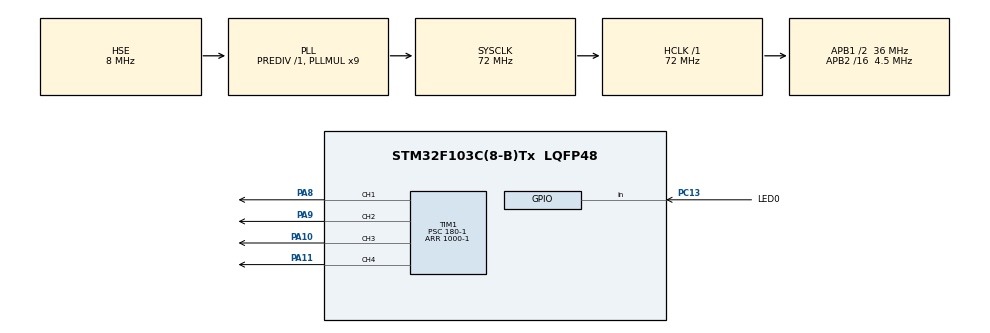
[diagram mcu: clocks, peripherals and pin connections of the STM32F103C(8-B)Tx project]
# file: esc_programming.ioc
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Mcu.Family=STM32F1
Mcu.Name=STM32F103C(8-B)Tx
Mcu.Package=LQFP48
NVIC.PriorityGroup=NVIC_PRIORITYGROUP_4
PA10.Signal=S_TIM1_CH3
PA11.Signal=S_TIM1_CH4
PA8.Signal=S_TIM1_CH1
PA9.Signal=S_TIM1_CH2
PC13-TAMPER-RTC.GPIO_Label=LED0
PC13-TAMPER-RTC.Signal=GPIO_Input
PD0-OSC_IN.Mode=HSE-External-Oscillator
PD0-OSC_IN.Signal=RCC_OSC_IN
PD1-OSC_OUT.Mode=HSE-External-Oscillator
PD1-OSC_OUT.Signal=RCC_OSC_OUT
ProjectManager.HeapSize=0x200
ProjectManager.StackSize=0x400
ProjectManager.TargetToolchain=STM32CubeIDE
RCC.AHBFreq_Value=72000000
RCC.APB1CLKDivider=RCC_HCLK_DIV2
RCC.APB1Freq_Value=36000000
RCC.APB1TimFreq_Value=72000000
RCC.APB2CLKDivider=RCC_HCLK_DIV16
RCC.APB2Freq_Value=4500000
RCC.APB2TimFreq_Value=9000000
RCC.HCLKFreq_Value=72000000
RCC.PLLMUL=RCC_PLL_MUL9
RCC.PLLSourceVirtual=RCC_PLLSOURCE_HSE
RCC.SYSCLKFreq_VALUE=72000000
RCC.SYSCLKSource=RCC_SYSCLKSOURCE_PLLCLK
RCC.USBFreq_Value=72000000
SH.S_TIM1_CH1.0=TIM1_CH1,PWM Generation1 CH1
SH.S_TIM1_CH2.0=TIM1_CH2,PWM Generation2 CH2
SH.S_TIM1_CH3.0=TIM1_CH3,PWM Generation3 CH3
SH.S_TIM1_CH4.0=TIM1_CH4,PWM Generation4 CH4
TIM1.Channel-PWM\ Generation1\ CH1=TIM_CHANNEL_1
TIM1.Channel-PWM\ Generation2\ CH2=TIM_CHANNEL_2
TIM1.Channel-PWM\ Generation3\ CH3=TIM_CHANNEL_3
TIM1.Channel-PWM\ Generation4\ CH4=TIM_CHANNEL_4
TIM1.Period=1000-1
TIM1.Prescaler=180-1
VP_SYS_VS_ND.Mode=No_Debug
board=custom

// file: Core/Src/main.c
/* USER CODE BEGIN Header */
/**
  ******************************************************************************
  * @file           : main.c
  * @brief          : Main program body
  ******************************************************************************
  * @attention
  *
  * Copyright (c) 2024 STMicroelectronics.
  * All rights reserved.
  *
  * This software is licensed under terms that can be found in the LICENSE file
  * in the root directory of this software component.
  * If no LICENSE file comes with this software, it is provided AS-IS.
  *
  ******************************************************************************
  */
/* USER CODE END Header */
#include "main.h"

/* USER CODE BEGIN PTD */
#define calibrate 1
#define setup 1
/* USER CODE END PTD */

TIM_HandleTypeDef htim1;

void SystemClock_Config(void);
static void MX_GPIO_Init(void);
static void MX_TIM1_Init(void);

/* USER CODE BEGIN 0 */

uint16_t ADC_Data=0;
int ADC_Converted=0;

/*long map(long x, long in_min, long in_max, long out_min, long out_max)
{
  return (x - in_min) * (out_max - out_min + 1) / (in_max - in_min + 1) + out_min;
}

void HAL_ADC_ConvCpltCallback(ADC_HandleTypeDef* hadc)
{
	ADC_Converted = map(ADC_Data, 0, 4095, 50, 120); //120 maior velocidade

	TIM1->CCR1 = ADC_Converted;
}*/

/* USER CODE END 0 */

int main(void)
{

  /* MCU Configuration--------------------------------------------------------*/

  /* Reset of all peripherals, Initializes the Flash interface and the Systick. */
  HAL_Init();

  /* Configure the system clock */
  SystemClock_Config();

  /* Initialize all configured peripherals */
  MX_GPIO_Init();
  MX_TIM1_Init();
  /* USER CODE BEGIN 2 */

  HAL_TIM_PWM_Start(&htim1, TIM_CHANNEL_1);
  HAL_TIM_PWM_Start(&htim1, TIM_CHANNEL_2);
  HAL_TIM_PWM_Start(&htim1, TIM_CHANNEL_3);
  HAL_TIM_PWM_Start(&htim1, TIM_CHANNEL_4);

  HAL_GPIO_TogglePin(LED0_GPIO_Port, LED0_Pin);

  //Standard PWM
  #if calibrate
      TIM1->CCR1 = 100;  // Set the maximum pulse (2ms)
      HAL_Delay(2000);  // wait for 2 beeps
      TIM1->CCR1 = 50;   // Set the minimum Pulse (1ms)
      HAL_Delay(1000);  // wait for n beeps and long beep - n = number of battery cells
      TIM1->CCR1 = 0;    // reset to 0, so it can be controlled.
      TIM1->CCR2 = 100;  // Set the maximum pulse (2ms)
      HAL_Delay(2000);  // wait for 2 beeps
      TIM1->CCR2 = 50;   // Set the minimum Pulse (1ms)
      HAL_Delay(1000);  // wait for n beeps and long beep - n = number of battery cells
      TIM1->CCR2 = 0;    // reset to 0, so it can be controlled.
      TIM1->CCR3 = 100;  // Set the maximum pulse (2ms)
      HAL_Delay(2000);  // wait for 2 beeps
      TIM1->CCR3 = 50;   // Set the minimum Pulse (1ms)
      HAL_Delay(1000);  // wait for n beeps and long beep - n = number of battery cells
      TIM1->CCR3 = 0;    // reset to 0, so it can be controlled.
      TIM1->CCR4 = 100;  // Set the maximum pulse (2ms)
      HAL_Delay(2000);  // wait for 2 beeps
      TIM1->CCR4 = 50;   // Set the minimum Pulse (1ms)
      HAL_Delay(1000);  // wait for n beeps and long beep - n = number of battery cells
      TIM1->CCR4 = 0;    // reset to 0, so it can be controlled.
  #endif

  /*#if setup
      TIM1->CCR1 = 50;
      HAL_Delay (3000);  // 123 beeps means battery is okay then n beeps
      TIM1->CCR1 = 0;
  #endif*/

      TIM1->CCR1 = 75;
      TIM1->CCR2 = 75;
      TIM1->CCR3 = 75;
      TIM1->CCR4 = 75;

  /* USER CODE END 2 */

  /* Infinite loop */
  /* USER CODE BEGIN WHILE */
  while (1)
  {

	  HAL_GPIO_TogglePin(LED0_GPIO_Port, LED0_Pin);

	  TIM1->CCR1 = 90;
	  TIM1->CCR2 = 90;
	  TIM1->CCR3 = 90;
	  TIM1->CCR4 = 90;

	  HAL_Delay(3000);

	  TIM1->CCR1 = 75;
	  TIM1->CCR2 = 75;
	  TIM1->CCR3 = 75;
	  TIM1->CCR4 = 75;

	  HAL_Delay(100);

	  TIM1->CCR1 = 60;
	  TIM1->CCR2 = 60;
	  TIM1->CCR3 = 60;
	  TIM1->CCR4 = 60;

	  HAL_Delay(3000);

	  //Standard PWM
	  /*TIM1->CCR1 = 50;
	  HAL_Delay (2000);
	  TIM1->CCR1 = 90;
	  HAL_Delay (10000);*/

    /* USER CODE END WHILE */

  }
}

void SystemClock_Config(void)
{
  RCC_OscInitTypeDef RCC_OscInitStruct = {0};
  RCC_ClkInitTypeDef RCC_ClkInitStruct = {0};

  /** Initializes the RCC Oscillators according to the specified parameters
  * in the RCC_OscInitTypeDef structure.
  */
  RCC_OscInitStruct.OscillatorType = RCC_OSCILLATORTYPE_HSE;
  RCC_OscInitStruct.HSEState = RCC_HSE_ON;
  RCC_OscInitStruct.HSEPredivValue = RCC_HSE_PREDIV_DIV1;
  RCC_OscInitStruct.HSIState = RCC_HSI_ON;
  RCC_OscInitStruct.PLL.PLLState = RCC_PLL_ON;
  RCC_OscInitStruct.PLL.PLLSource = RCC_PLLSOURCE_HSE;
  RCC_OscInitStruct.PLL.PLLMUL = RCC_PLL_MUL9;
  if (HAL_RCC_OscConfig(&RCC_OscInitStruct) != HAL_OK)
  {
    Error_Handler();
  }

  /** Initializes the CPU, AHB and APB buses clocks
  */
  RCC_ClkInitStruct.ClockType = RCC_CLOCKTYPE_HCLK|RCC_CLOCKTYPE_SYSCLK
                              |RCC_CLOCKTYPE_PCLK1|RCC_CLOCKTYPE_PCLK2;
  RCC_ClkInitStruct.SYSCLKSource = RCC_SYSCLKSOURCE_PLLCLK;
  RCC_ClkInitStruct.AHBCLKDivider = RCC_SYSCLK_DIV1;
  RCC_ClkInitStruct.APB1CLKDivider = RCC_HCLK_DIV2;
  RCC_ClkInitStruct.APB2CLKDivider = RCC_HCLK_DIV16;

  if (HAL_RCC_ClockConfig(&RCC_ClkInitStruct, FLASH_LATENCY_2) != HAL_OK)
  {
    Error_Handler();
  }
}

static void MX_TIM1_Init(void)
{

  TIM_MasterConfigTypeDef sMasterConfig = {0};
  TIM_OC_InitTypeDef sConfigOC = {0};
  TIM_BreakDeadTimeConfigTypeDef sBreakDeadTimeConfig = {0};

  htim1.Instance = TIM1;
  htim1.Init.Prescaler = 180-1;
  htim1.Init.CounterMode = TIM_COUNTERMODE_UP;
  htim1.Init.Period = 1000-1;
  htim1.Init.ClockDivision = TIM_CLOCKDIVISION_DIV1;
  htim1.Init.RepetitionCounter = 0;
  htim1.Init.AutoReloadPreload = TIM_AUTORELOAD_PRELOAD_DISABLE;
  if (HAL_TIM_PWM_Init(&htim1) != HAL_OK)
  {
    Error_Handler();
  }
  sMasterConfig.MasterOutputTrigger = TIM_TRGO_RESET;
  sMasterConfig.MasterSlaveMode = TIM_MASTERSLAVEMODE_DISABLE;
  if (HAL_TIMEx_MasterConfigSynchronization(&htim1, &sMasterConfig) != HAL_OK)
  {
    Error_Handler();
  }
  sConfigOC.OCMode = TIM_OCMODE_PWM1;
  sConfigOC.Pulse = 0;
  sConfigOC.OCPolarity = TIM_OCPOLARITY_HIGH;
  sConfigOC.OCNPolarity = TIM_OCNPOLARITY_HIGH;
  sConfigOC.OCFastMode = TIM_OCFAST_DISABLE;
  sConfigOC.OCIdleState = TIM_OCIDLESTATE_RESET;
  sConfigOC.OCNIdleState = TIM_OCNIDLESTATE_RESET;
  if (HAL_TIM_PWM_ConfigChannel(&htim1, &sConfigOC, TIM_CHANNEL_1) != HAL_OK)
  {
    Error_Handler();
  }
  if (HAL_TIM_PWM_ConfigChannel(&htim1, &sConfigOC, TIM_CHANNEL_2) != HAL_OK)
  {
    Error_Handler();
  }
  if (HAL_TIM_PWM_ConfigChannel(&htim1, &sConfigOC, TIM_CHANNEL_3) != HAL_OK)
  {
    Error_Handler();
  }
  if (HAL_TIM_PWM_ConfigChannel(&htim1, &sConfigOC, TIM_CHANNEL_4) != HAL_OK)
  {
    Error_Handler();
  }
  sBreakDeadTimeConfig.OffStateRunMode = TIM_OSSR_DISABLE;
  sBreakDeadTimeConfig.OffStateIDLEMode = TIM_OSSI_DISABLE;
  sBreakDeadTimeConfig.LockLevel = TIM_LOCKLEVEL_OFF;
  sBreakDeadTimeConfig.DeadTime = 0;
  sBreakDeadTimeConfig.BreakState = TIM_BREAK_DISABLE;
  sBreakDeadTimeConfig.BreakPolarity = TIM_BREAKPOLARITY_HIGH;
  sBreakDeadTimeConfig.AutomaticOutput = TIM_AUTOMATICOUTPUT_DISABLE;
  if (HAL_TIMEx_ConfigBreakDeadTime(&htim1, &sBreakDeadTimeConfig) != HAL_OK)
  {
    Error_Handler();
  }
  HAL_TIM_MspPostInit(&htim1);

}

static void MX_GPIO_Init(void)
{
  GPIO_InitTypeDef GPIO_InitStruct = {0};

  /* GPIO Ports Clock Enable */
  __HAL_RCC_GPIOC_CLK_ENABLE();
  __HAL_RCC_GPIOD_CLK_ENABLE();
  __HAL_RCC_GPIOA_CLK_ENABLE();

  /*Configure GPIO pin : LED0_Pin */
  GPIO_InitStruct.Pin = LED0_Pin;
  GPIO_InitStruct.Mode = GPIO_MODE_INPUT;
  GPIO_InitStruct.Pull = GPIO_NOPULL;
  HAL_GPIO_Init(LED0_GPIO_Port, &GPIO_InitStruct);

}

void Error_Handler(void)
{
  __disable_irq();
  while (1)
  {
  }
}
